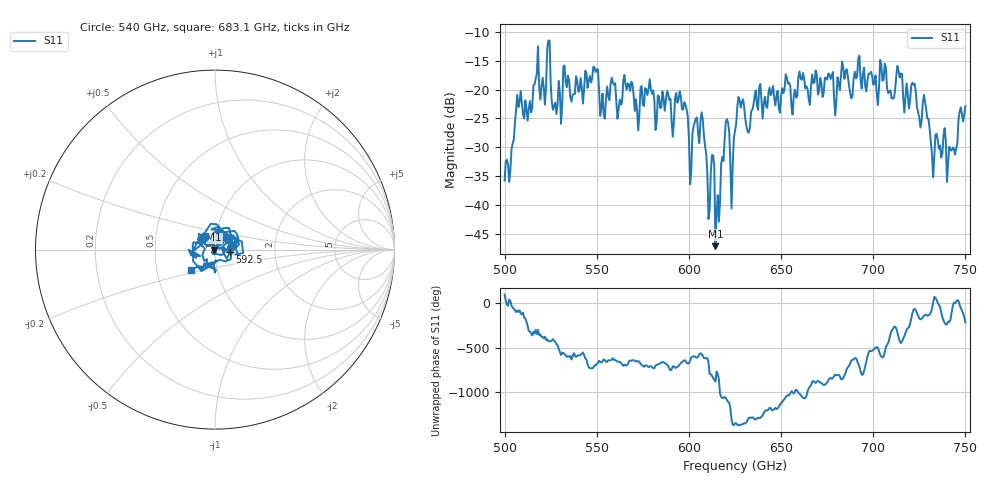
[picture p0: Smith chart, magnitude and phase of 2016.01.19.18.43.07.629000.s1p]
!Created with skrf (http://scikit-rf.org).
# GHz S RI R 50.0
!freq ReS11 ImS11
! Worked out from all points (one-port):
!   401 points, 500 GHz to 750 GHz, reference 50 ohm
!   lowest |S11| = -47.2 dB at 614.4 GHz (marker M1), VSWR 1.01, Z = 49.6 - j0.119 ohm
!   |S11| at or under -10 dB: start of sweep to end of sweep
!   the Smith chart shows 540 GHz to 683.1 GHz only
!   S11 on the Smith chart (normalised r, x): 540 GHz: 0.87, +0.13; 592.5 GHz: 1.18, -0.03; 683.1 GHz: 0.75, -0.18
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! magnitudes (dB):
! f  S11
! 500 GHz  -35.8
! 507.5 GHz  -23.0
! 513.8 GHz  -22.0
! 516.9 GHz  -18.1
! 531.2 GHz  -22.6
! 540 GHz  -20.4
! 549.4 GHz  -17.0
! 562.5 GHz  -21.7
! 565.6 GHz  -19.1
! 592.5 GHz  -21.4
! 593.8 GHz  -22.3
! 601.2 GHz  -34.3
! 607.5 GHz  -25.1
! 610 GHz  -34.5
! 614.4 GHz  -47.2
! 615.6 GHz  -38.3
! 620.6 GHz  -25.1
! 623.1 GHz  -40.6
! 625 GHz  -27.2
! 628.1 GHz  -23.1
! 631.9 GHz  -27.3
! 637.5 GHz  -23.5
! 656.2 GHz  -24.3
! 683.1 GHz  -15.1
! 687.5 GHz  -20.6
! 718.8 GHz  -20.9
! 741.2 GHz  -29.9
! 750 GHz  -22.9
